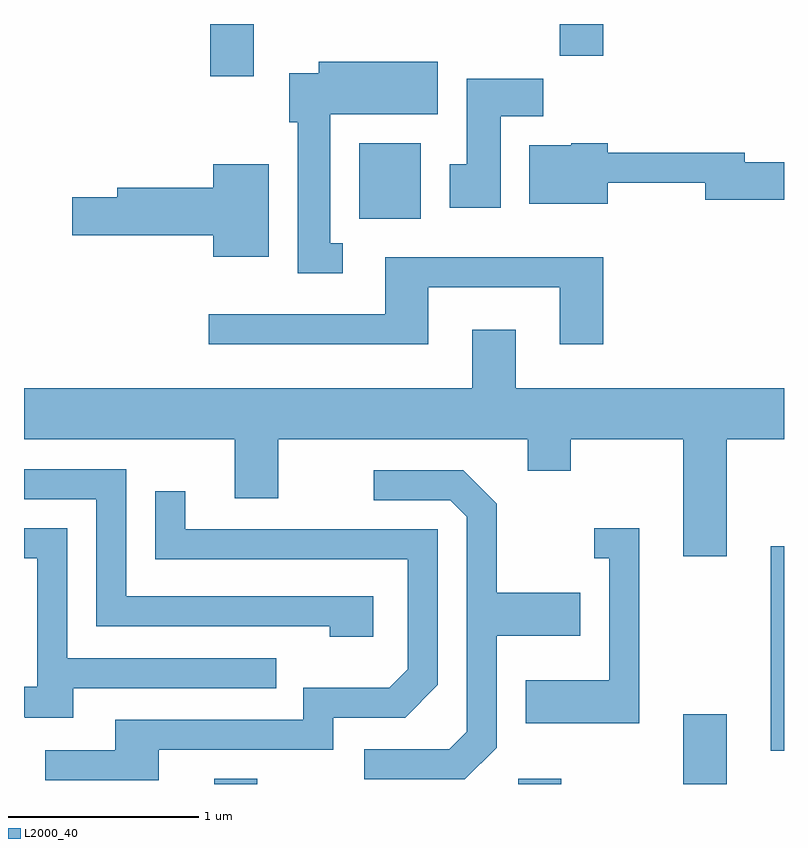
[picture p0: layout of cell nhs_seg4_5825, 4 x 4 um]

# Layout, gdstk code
import gdstk
lib = gdstk.Library(unit=1e-6, precision=1e-09)
def R(c, l, rs):  # rectangles x0, y0, x1, y1
    for r in rs: c.add(gdstk.rectangle(r[:2], r[2:], *l))
def P(c, l, *ps):  # polygons
    for p in ps: c.add(gdstk.Polygon(p, *l))
L2000_40 = (2000, 40)

nhs_seg4_5825 = lib.new_cell('nhs_seg4_5825')
R(nhs_seg4_5825, L2000_40, [(356.611,1343.982,356.839,1344.009), (358.211,1343.982,358.439,1344.009), (359.081,1343.982,359.309,1344.349), (359.541,1344.156,359.611,1345.234), (357.376,1346.956,357.699,1347.354), (356.591,1347.706,356.819,1347.982), (358.431,1347.816,358.659,1347.982)])
P(nhs_seg4_5825, L2000_40, [(357.288,1346.829),(357.224,1346.829),(357.224,1347.506),(357.789,1347.506),(357.789,1347.784),(357.161,1347.784),(357.161,1347.724),(357.006,1347.724),(357.006,1347.466),(357.051,1347.466),(357.051,1346.671),(357.288,1346.671)],
  [(358.119,1347.496),(358.344,1347.496),(358.344,1347.694),(357.941,1347.694),(357.941,1347.244),(357.851,1347.244),(357.851,1347.016),(358.119,1347.016)],
  [(358.684,1347.146),(359.196,1347.146),(359.196,1347.056),(359.611,1347.056),(359.611,1347.254),(359.404,1347.254),(359.404,1347.304),(358.684,1347.304),(358.684,1347.354),(358.49,1347.354),(358.49,1347.344),(358.271,1347.344),(358.271,1347.036),(358.684,1347.036)],
  [(356.899,1347.244),(356.606,1347.244),(356.606,1347.119),(356.101,1347.119),(356.101,1347.069),(355.866,1347.069),(355.866,1346.871),(356.606,1346.871),(356.606,1346.756),(356.899,1346.756)],
  [(357.739,1346.596),(358.431,1346.596),(358.431,1346.296),(358.659,1346.296),(358.659,1346.754),(357.511,1346.754),(357.511,1346.454),(356.583,1346.454),(356.583,1346.296),(357.739,1346.296)],
  [(359.309,1345.796),(359.611,1345.796),(359.611,1346.064),(358.199,1346.064),(358.199,1346.374),(357.971,1346.374),(357.971,1346.064),(355.611,1346.064),(355.611,1345.796),(356.721,1345.796),(356.721,1345.486),(356.949,1345.486),(356.949,1345.796),(358.261,1345.796),(358.261,1345.631),(358.489,1345.631),(358.489,1345.796),(359.081,1345.796),(359.081,1345.181),(359.309,1345.181)],
  [(357.449,1344.969),(356.149,1344.969),(356.149,1345.639),(355.611,1345.639),(355.611,1345.481),(355.991,1345.481),(355.991,1344.811),(357.221,1344.811),(357.221,1344.756),(357.449,1344.756)],
  [(358.099,1344.174),(358.099,1344.761),(358.539,1344.761),(358.539,1344.989),(358.099,1344.989),(358.099,1345.457),(357.922,1345.634),(357.453,1345.634),(357.453,1345.476),(357.854,1345.476),(357.941,1345.389),(357.941,1344.257),(357.849,1344.164),(357.403,1344.164),(357.403,1344.006),(357.932,1344.006)],
  [(356.319,1344.161),(357.239,1344.161),(357.239,1344.331),(357.617,1344.331),(357.789,1344.504),(357.789,1345.324),(356.459,1345.324),(356.459,1345.523),(356.301,1345.523),(356.301,1345.166),(357.631,1345.166),(357.631,1344.587),(357.534,1344.489),(357.081,1344.489),(357.081,1344.319),(356.091,1344.319),(356.091,1344.159),(355.723,1344.159),(355.723,1344.001),(356.319,1344.001)],
  [(355.869,1344.486),(356.938,1344.486),(356.938,1344.644),(355.839,1344.644),(355.839,1345.329),(355.611,1345.329),(355.611,1345.171),(355.681,1345.171),(355.681,1344.494),(355.611,1344.494),(355.611,1344.336),(355.615,1344.336),(355.615,1344.331),(355.869,1344.331)],
  [(358.849,1345.329),(358.613,1345.329),(358.613,1345.171),(358.691,1345.171),(358.691,1344.529),(358.251,1344.529),(358.251,1344.301),(358.849,1344.301)])

lib.write_gds('nhs_seg4_5825.gds')
